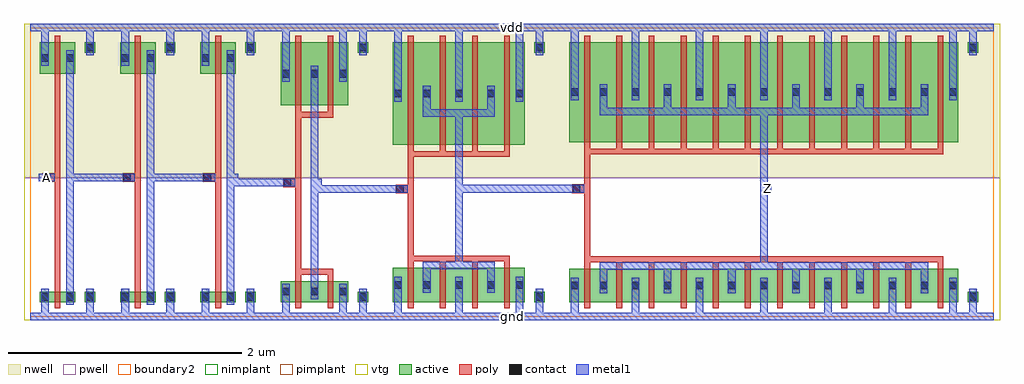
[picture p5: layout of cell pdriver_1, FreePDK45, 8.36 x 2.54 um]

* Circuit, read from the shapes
.subckt pdriver_1 A Z gnd vdd
M1 pinv_1_1/A A gnd gnd nfet w=0.09u l=0.05u
M2 pinv_1_2/A pinv_1_1/A gnd gnd nfet w=0.09u l=0.05u
M3 pinv_8_3/A pinv_1_2/A gnd gnd nfet w=0.09u l=0.05u
M4 pinv_9_4/A pinv_8_3/A gnd gnd nfet w=0.18u l=0.05u m=2
M5 pinv_10_5/A pinv_9_4/A gnd gnd nfet w=0.2925u l=0.05u m=4
M6 Z pinv_10_5/A gnd gnd nfet w=0.285u l=0.05u m=12
M7 pinv_1_1/A A vdd vdd pfet w=0.27u l=0.05u
M8 pinv_1_2/A pinv_1_1/A vdd vdd pfet w=0.27u l=0.05u
M9 pinv_8_3/A pinv_1_2/A vdd vdd pfet w=0.27u l=0.05u
M10 pinv_9_4/A pinv_8_3/A vdd vdd pfet w=0.54u l=0.05u m=2
M11 pinv_10_5/A pinv_9_4/A vdd vdd pfet w=0.8775u l=0.05u m=4
M12 Z pinv_10_5/A vdd vdd pfet w=0.855u l=0.05u m=12
.ends

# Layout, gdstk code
import gdstk
lib = gdstk.Library(unit=1e-6, precision=5e-10)
def R(c, l, rs):  # rectangles x0, y0, x1, y1
    for r in rs: c.add(gdstk.rectangle(r[:2], r[2:], *l))
def A(c, l, x, y, w, h, nx, ny, dx, dy):  # array of equal rectangles
    R(c, l, [(x+i*dx, y+j*dy, x+i*dx+w, y+j*dy+h) for i in range(nx) for j in range(ny)])
active = (1, 0)
pwell = (2, 0)
nwell = (3, 0)
nimplant = (4, 0)
pimplant = (5, 0)
vtg = (6, 0)
poly = (9, 0)
contact = (10, 0)
metal1 = (11, 0)
boundary2 = (239, 0)

contact_10 = lib.new_cell('contact_10')
R(contact_10, active, [(0,0.0225,0.09,0.1125)])
R(contact_10, nwell, [(-0.055,-0.0325,0.145,0.1675)])
R(contact_10, pimplant, [(0,0.0225,0.09,0.1125)])
R(contact_10, contact, [(0.0125,0.035,0.0775,0.1)])
R(contact_10, metal1, [(0.0125,0,0.0775,0.135)])
R(contact_10, boundary2, [(-0.055,-0.0325,0.145,0.1675)])

pmos_m1_w0_270_sm1_dm1_d = lib.new_cell('pmos_m1_w0_270_sm1_dm1_da_p')
R(pmos_m1_w0_270_sm1_dm1_d, active, [(0,0,0.305,0.27)])
R(pmos_m1_w0_270_sm1_dm1_d, nwell, [(-0.08,-0.08,0.385,0.35)])
R(pmos_m1_w0_270_sm1_dm1_d, pimplant, [(0,0,0.305,0.27)])
R(pmos_m1_w0_270_sm1_dm1_d, vtg, [(-0.08,-0.08,0.385,0.35)])
R(pmos_m1_w0_270_sm1_dm1_d, poly, [(0.1275,-0.055,0.1775,0.325), (0.1275,-0.055,0.1775,0.325)])
R(pmos_m1_w0_270_sm1_dm1_d, metal1, [(0.0125,0.0675,0.0775,0.2025), (0.2275,0.0675,0.2925,0.2025)])
R(pmos_m1_w0_270_sm1_dm1_d, boundary2, [(-0.08,-0.08,0.385,0.35)])
pmos_m1_w0_270_sm1_dm1_d.add(gdstk.Reference(contact_10, (0,0.0675)))
pmos_m1_w0_270_sm1_dm1_d.add(gdstk.Reference(contact_10, (0.215,0.0675)))
pmos_m1_w0_270_sm1_dm1_d.add(gdstk.Label('S', (0.045,0.135), layer=11, texttype=0))
pmos_m1_w0_270_sm1_dm1_d.add(gdstk.Label('D', (0.26,0.135), layer=11, texttype=0))
pmos_m1_w0_270_sm1_dm1_d.add(gdstk.Label('G', (0.1525,0.135), layer=9, texttype=0))

contact_9 = lib.new_cell('contact_9')
R(contact_9, active, [(0,0.0225,0.09,0.1125)])
R(contact_9, pwell, [(-0.055,-0.0325,0.145,0.1675)])
R(contact_9, nimplant, [(0,0.0225,0.09,0.1125)])
R(contact_9, contact, [(0.0125,0.035,0.0775,0.1)])
R(contact_9, metal1, [(0.0125,0,0.0775,0.135)])
R(contact_9, boundary2, [(-0.055,-0.0325,0.145,0.1675)])

nmos_m1_w0_090_sm1_dm1_d = lib.new_cell('nmos_m1_w0_090_sm1_dm1_da_p')
R(nmos_m1_w0_090_sm1_dm1_d, active, [(0,0,0.305,0.09)])
R(nmos_m1_w0_090_sm1_dm1_d, pwell, [(-0.08,-0.08,0.385,0.17)])
R(nmos_m1_w0_090_sm1_dm1_d, nimplant, [(0,0,0.305,0.09)])
R(nmos_m1_w0_090_sm1_dm1_d, vtg, [(-0.08,-0.08,0.385,0.17)])
R(nmos_m1_w0_090_sm1_dm1_d, poly, [(0.1275,-0.055,0.1775,0.145), (0.1275,-0.055,0.1775,0.145)])
R(nmos_m1_w0_090_sm1_dm1_d, metal1, [(0.0125,-0.0225,0.0775,0.1125), (0.2275,-0.0225,0.2925,0.1125)])
R(nmos_m1_w0_090_sm1_dm1_d, boundary2, [(-0.08,-0.08,0.385,0.17)])
nmos_m1_w0_090_sm1_dm1_d.add(gdstk.Reference(contact_9, (0,-0.0225)))
nmos_m1_w0_090_sm1_dm1_d.add(gdstk.Reference(contact_9, (0.215,-0.0225)))
nmos_m1_w0_090_sm1_dm1_d.add(gdstk.Label('S', (0.045,0.045), layer=11, texttype=0))
nmos_m1_w0_090_sm1_dm1_d.add(gdstk.Label('D', (0.26,0.045), layer=11, texttype=0))
nmos_m1_w0_090_sm1_dm1_d.add(gdstk.Label('G', (0.1525,0.045), layer=9, texttype=0))

contact_11 = lib.new_cell('contact_11')
R(contact_11, active, [(0,0.0225,0.09,0.1125)])
R(contact_11, nwell, [(-0.055,-0.0325,0.145,0.1675)])
R(contact_11, nimplant, [(0,0.0225,0.09,0.1125)])
R(contact_11, contact, [(0.0125,0.035,0.0775,0.1)])
R(contact_11, metal1, [(0.0125,0,0.0775,0.135)])
R(contact_11, boundary2, [(-0.055,-0.0325,0.145,0.1675)])

contact_12 = lib.new_cell('contact_12')
R(contact_12, active, [(0,0.0225,0.09,0.1125)])
R(contact_12, pwell, [(-0.055,-0.0325,0.145,0.1675)])
R(contact_12, pimplant, [(0,0.0225,0.09,0.1125)])
R(contact_12, contact, [(0.0125,0.035,0.0775,0.1)])
R(contact_12, metal1, [(0.0125,0,0.0775,0.135)])
R(contact_12, boundary2, [(-0.055,-0.0325,0.145,0.1675)])

contact_13 = lib.new_cell('contact_13')
R(contact_13, poly, [(0.03,0,0.105,0.075)])
R(contact_13, contact, [(0.035,0.005,0.1,0.07)])
R(contact_13, metal1, [(0,0.005,0.135,0.07)])
R(contact_13, boundary2, [(0,0,0.135,0.075)])

pinv_1 = lib.new_cell('pinv_1')
R(pinv_1, pwell, [(-0.055,-0.0325,0.7425,1.1875)])
R(pinv_1, nwell, [(-0.055,1.1875,0.7425,2.51)])
R(pinv_1, vtg, [(-0.055,-0.0325,0.7425,1.1875), (-0.055,1.1875,0.7425,2.51)])
R(pinv_1, poly, [(0.2075,0.27,0.2575,2.025), (0.14,1.155,0.2075,1.23)])
R(pinv_1, metal1, [(0,-0.0325,0.6875,0.0325), (0.0925,-0.0325,0.1575,0.1025), (0.4775,0,0.5425,0.17), (0.3075,0.1025,0.3725,2.2825), (0.0725,1.16,0.2075,1.225), (0.34,1.16,0.405,1.225), (0.0925,2.1475,0.1575,2.5075), (0.4775,2.305,0.5425,2.475), (0,2.4425,0.6875,2.5075)])
R(pinv_1, boundary2, [(0,0,0.6875,2.475), (0,0,0.6875,2.475)])
pinv_1.add(gdstk.Reference(pmos_m1_w0_270_sm1_dm1_d, (0.08,2.08)))
pinv_1.add(gdstk.Reference(nmos_m1_w0_090_sm1_dm1_d, (0.08,0.125)))
pinv_1.add(gdstk.Reference(contact_11, (0.465,2.2375)))
pinv_1.add(gdstk.Reference(contact_12, (0.465,0.1025)))
pinv_1.add(gdstk.Reference(contact_13, (0.0725,1.155)))
pinv_1.add(gdstk.Label('A', (0.14,1.1925), layer=11, texttype=0))
pinv_1.add(gdstk.Label('Z', (0.3725,1.1925), layer=11, texttype=0))
pinv_1.add(gdstk.Label('gnd', (0.344,0), layer=11, texttype=0))
pinv_1.add(gdstk.Label('vdd', (0.344,2.475), layer=11, texttype=0))

pmos_m2_w0_540_sm1_dm1_d = lib.new_cell('pmos_m2_w0_540_sm1_dm1_da_p')
R(pmos_m2_w0_540_sm1_dm1_d, active, [(0,0,0.58,0.54)])
R(pmos_m2_w0_540_sm1_dm1_d, nwell, [(-0.08,-0.08,0.66,0.62)])
R(pmos_m2_w0_540_sm1_dm1_d, pimplant, [(0,0,0.58,0.54)])
R(pmos_m2_w0_540_sm1_dm1_d, vtg, [(-0.08,-0.08,0.66,0.62)])
R(pmos_m2_w0_540_sm1_dm1_d, poly, [(0.1275,-0.105,0.4525,-0.055), (0.1275,-0.055,0.1775,0.595), (0.4025,-0.055,0.4525,0.595)])
A(pmos_m2_w0_540_sm1_dm1_d, metal1, 0.0125, 0.2025, 0.065, 0.135, 3, 1, 0.245, 0)
R(pmos_m2_w0_540_sm1_dm1_d, boundary2, [(-0.08,-0.105,0.66,0.62)])
pmos_m2_w0_540_sm1_dm1_d.add(gdstk.Reference(contact_10, (0,0.2025)))
pmos_m2_w0_540_sm1_dm1_d.add(gdstk.Reference(contact_10, (0.245,0.2025)))
pmos_m2_w0_540_sm1_dm1_d.add(gdstk.Reference(contact_10, (0.49,0.2025)))
pmos_m2_w0_540_sm1_dm1_d.add(gdstk.Label('S', (0.535,0.27), layer=11, texttype=0))
pmos_m2_w0_540_sm1_dm1_d.add(gdstk.Label('S', (0.045,0.27), layer=11, texttype=0))
pmos_m2_w0_540_sm1_dm1_d.add(gdstk.Label('D', (0.29,0.27), layer=11, texttype=0))
pmos_m2_w0_540_sm1_dm1_d.add(gdstk.Label('G', (0.29,-0.08), layer=9, texttype=0))

nmos_m2_w0_180_sm1_dm1_d = lib.new_cell('nmos_m2_w0_180_sm1_dm1_da_p')
R(nmos_m2_w0_180_sm1_dm1_d, active, [(0,0,0.58,0.18)])
R(nmos_m2_w0_180_sm1_dm1_d, pwell, [(-0.08,-0.08,0.66,0.26)])
R(nmos_m2_w0_180_sm1_dm1_d, nimplant, [(0,0,0.58,0.18)])
R(nmos_m2_w0_180_sm1_dm1_d, vtg, [(-0.08,-0.08,0.66,0.26)])
R(nmos_m2_w0_180_sm1_dm1_d, poly, [(0.1275,-0.055,0.1775,0.235), (0.4025,-0.055,0.4525,0.235), (0.1275,0.235,0.4525,0.285)])
A(nmos_m2_w0_180_sm1_dm1_d, metal1, 0.0125, 0.0225, 0.065, 0.135, 3, 1, 0.245, 0)
R(nmos_m2_w0_180_sm1_dm1_d, boundary2, [(-0.08,-0.08,0.66,0.285)])
nmos_m2_w0_180_sm1_dm1_d.add(gdstk.Reference(contact_9, (0,0.0225)))
nmos_m2_w0_180_sm1_dm1_d.add(gdstk.Reference(contact_9, (0.245,0.0225)))
nmos_m2_w0_180_sm1_dm1_d.add(gdstk.Reference(contact_9, (0.49,0.0225)))
nmos_m2_w0_180_sm1_dm1_d.add(gdstk.Label('S', (0.535,0.09), layer=11, texttype=0))
nmos_m2_w0_180_sm1_dm1_d.add(gdstk.Label('S', (0.045,0.09), layer=11, texttype=0))
nmos_m2_w0_180_sm1_dm1_d.add(gdstk.Label('D', (0.29,0.09), layer=11, texttype=0))
nmos_m2_w0_180_sm1_dm1_d.add(gdstk.Label('G', (0.29,0.26), layer=9, texttype=0))

pinv_8 = lib.new_cell('pinv_8')
R(pinv_8, pwell, [(-0.055,-0.0325,1.0175,1.1875)])
R(pinv_8, nwell, [(-0.055,1.1875,1.0175,2.51)])
R(pinv_8, vtg, [(-0.055,-0.0325,1.0175,1.1875), (-0.055,1.1875,1.0175,2.51)])
R(pinv_8, poly, [(0.2075,0.41,0.2575,1.705), (0.14,1.11,0.2075,1.185)])
R(pinv_8, metal1, [(0,-0.0325,0.9625,0.0325), (0.0925,-0.0325,0.1575,0.1475), (0.5825,-0.0325,0.6475,0.1475), (0.7525,0,0.8175,0.17), (0.3375,0.1475,0.4025,2.1475), (0.0725,1.115,0.2075,1.18), (0.37,1.115,0.435,1.18), (0.0925,2.0125,0.1575,2.5075), (0.5825,2.0125,0.6475,2.5075), (0.7525,2.305,0.8175,2.475), (0,2.4425,0.9625,2.5075)])
R(pinv_8, boundary2, [(0,0,0.9625,2.475), (0,0,0.9625,2.475)])
pinv_8.add(gdstk.Reference(pmos_m2_w0_540_sm1_dm1_d, (0.08,1.81)))
pinv_8.add(gdstk.Reference(nmos_m2_w0_180_sm1_dm1_d, (0.08,0.125)))
pinv_8.add(gdstk.Reference(contact_11, (0.74,2.2375)))
pinv_8.add(gdstk.Reference(contact_12, (0.74,0.1025)))
pinv_8.add(gdstk.Reference(contact_13, (0.0725,1.11)))
pinv_8.add(gdstk.Label('A', (0.14,1.1475), layer=11, texttype=0))
pinv_8.add(gdstk.Label('Z', (0.4025,1.1475), layer=11, texttype=0))
pinv_8.add(gdstk.Label('gnd', (0.481,0), layer=11, texttype=0))
pinv_8.add(gdstk.Label('vdd', (0.481,2.475), layer=11, texttype=0))

pmos_m4_w0_878_sm1_dm1_d = lib.new_cell('pmos_m4_w0_878_sm1_dm1_da_p')
R(pmos_m4_w0_878_sm1_dm1_d, active, [(0,0,1.13,0.8775)])
R(pmos_m4_w0_878_sm1_dm1_d, nwell, [(-0.08,-0.08,1.21,0.9575)])
R(pmos_m4_w0_878_sm1_dm1_d, pimplant, [(0,0,1.13,0.8775)])
R(pmos_m4_w0_878_sm1_dm1_d, vtg, [(-0.08,-0.08,1.21,0.9575)])
A(pmos_m4_w0_878_sm1_dm1_d, poly, 0.1275, -0.055, 0.05, 0.9875, 4, 1, 0.275, 0)
R(pmos_m4_w0_878_sm1_dm1_d, poly, [(0.1275,-0.105,1.0025,-0.055)])
A(pmos_m4_w0_878_sm1_dm1_d, metal1, 0.0125, 0.37, 0.065, 0.135, 3, 1, 0.52, 0)
R(pmos_m4_w0_878_sm1_dm1_d, metal1, [(0.2575,0.24,0.8725,0.305), (0.2575,0.275,0.3225,0.44), (0.8075,0.275,0.8725,0.44)])
R(pmos_m4_w0_878_sm1_dm1_d, boundary2, [(-0.08,-0.105,1.21,0.9575)])
pmos_m4_w0_878_sm1_dm1_d.add(gdstk.Reference(contact_10, (0,0.37)))
pmos_m4_w0_878_sm1_dm1_d.add(gdstk.Reference(contact_10, (0.245,0.37)))
pmos_m4_w0_878_sm1_dm1_d.add(gdstk.Reference(contact_10, (0.52,0.37)))
pmos_m4_w0_878_sm1_dm1_d.add(gdstk.Reference(contact_10, (0.795,0.37)))
pmos_m4_w0_878_sm1_dm1_d.add(gdstk.Reference(contact_10, (1.04,0.37)))
pmos_m4_w0_878_sm1_dm1_d.add(gdstk.Label('S', (1.085,0.4375), layer=11, texttype=0))
pmos_m4_w0_878_sm1_dm1_d.add(gdstk.Label('S', (0.045,0.4375), layer=11, texttype=0))
pmos_m4_w0_878_sm1_dm1_d.add(gdstk.Label('S', (0.565,0.4375), layer=11, texttype=0))
pmos_m4_w0_878_sm1_dm1_d.add(gdstk.Label('D', (0.565,0.2725), layer=11, texttype=0))
pmos_m4_w0_878_sm1_dm1_d.add(gdstk.Label('G', (0.565,-0.08), layer=9, texttype=0))

nmos_m4_w0_292_sm1_dm1_d = lib.new_cell('nmos_m4_w0_292_sm1_dm1_da_p')
R(nmos_m4_w0_292_sm1_dm1_d, active, [(0,0,1.13,0.2925)])
R(nmos_m4_w0_292_sm1_dm1_d, pwell, [(-0.08,-0.08,1.21,0.3725)])
R(nmos_m4_w0_292_sm1_dm1_d, nimplant, [(0,0,1.13,0.2925)])
R(nmos_m4_w0_292_sm1_dm1_d, vtg, [(-0.08,-0.08,1.21,0.3725)])
A(nmos_m4_w0_292_sm1_dm1_d, poly, 0.1275, -0.055, 0.05, 0.4025, 4, 1, 0.275, 0)
R(nmos_m4_w0_292_sm1_dm1_d, poly, [(0.1275,0.3475,1.0025,0.3975)])
A(nmos_m4_w0_292_sm1_dm1_d, metal1, 0.0125, 0.08, 0.065, 0.135, 3, 1, 0.52, 0)
R(nmos_m4_w0_292_sm1_dm1_d, metal1, [(0.2575,0.145,0.3225,0.31), (0.8075,0.145,0.8725,0.31), (0.2575,0.28,0.8725,0.345)])
R(nmos_m4_w0_292_sm1_dm1_d, boundary2, [(-0.08,-0.08,1.21,0.3975)])
nmos_m4_w0_292_sm1_dm1_d.add(gdstk.Reference(contact_9, (0,0.08)))
nmos_m4_w0_292_sm1_dm1_d.add(gdstk.Reference(contact_9, (0.245,0.08)))
nmos_m4_w0_292_sm1_dm1_d.add(gdstk.Reference(contact_9, (0.52,0.08)))
nmos_m4_w0_292_sm1_dm1_d.add(gdstk.Reference(contact_9, (0.795,0.08)))
nmos_m4_w0_292_sm1_dm1_d.add(gdstk.Reference(contact_9, (1.04,0.08)))
nmos_m4_w0_292_sm1_dm1_d.add(gdstk.Label('S', (0.045,0.1475), layer=11, texttype=0))
nmos_m4_w0_292_sm1_dm1_d.add(gdstk.Label('S', (1.085,0.1475), layer=11, texttype=0))
nmos_m4_w0_292_sm1_dm1_d.add(gdstk.Label('S', (0.565,0.1475), layer=11, texttype=0))
nmos_m4_w0_292_sm1_dm1_d.add(gdstk.Label('D', (0.565,0.3125), layer=11, texttype=0))
nmos_m4_w0_292_sm1_dm1_d.add(gdstk.Label('G', (0.565,0.3725), layer=9, texttype=0))

pinv_9 = lib.new_cell('pinv_9')
R(pinv_9, pwell, [(-0.055,-0.0325,1.5675,1.1875)])
R(pinv_9, nwell, [(-0.055,1.1875,1.5675,2.51)])
R(pinv_9, vtg, [(-0.055,-0.0325,1.5675,1.1875), (-0.055,1.1875,1.5675,2.51)])
R(pinv_9, poly, [(0.2075,0.5225,0.2575,1.3675), (0.14,1.055,0.2075,1.13)])
A(pinv_9, metal1, 0.0925, -0.0325, 0.065, 0.2375, 3, 1, 0.52, 0)
A(pinv_9, metal1, 0.0925, 1.8425, 0.065, 0.665, 3, 1, 0.52, 0)
R(pinv_9, metal1, [(0,-0.0325,1.5125,0.0325), (1.3025,0,1.3675,0.17), (0.6125,0.405,0.6775,1.7775), (0.0725,1.06,0.2075,1.125), (0.645,1.06,0.71,1.125), (1.3025,2.305,1.3675,2.475), (0,2.4425,1.5125,2.5075)])
R(pinv_9, boundary2, [(0,0,1.5125,2.475), (0,0,1.5125,2.475)])
pinv_9.add(gdstk.Reference(pmos_m4_w0_878_sm1_dm1_d, (0.08,1.4725)))
pinv_9.add(gdstk.Reference(nmos_m4_w0_292_sm1_dm1_d, (0.08,0.125)))
pinv_9.add(gdstk.Reference(contact_11, (1.29,2.2375)))
pinv_9.add(gdstk.Reference(contact_12, (1.29,0.1025)))
pinv_9.add(gdstk.Reference(contact_13, (0.0725,1.055)))
pinv_9.add(gdstk.Label('A', (0.14,1.0925), layer=11, texttype=0))
pinv_9.add(gdstk.Label('Z', (0.6775,1.0925), layer=11, texttype=0))
pinv_9.add(gdstk.Label('gnd', (0.756,0), layer=11, texttype=0))
pinv_9.add(gdstk.Label('vdd', (0.756,2.475), layer=11, texttype=0))

pmos_m12_w0_855_sm1_dm1_ = lib.new_cell('pmos_m12_w0_855_sm1_dm1_da_p')
R(pmos_m12_w0_855_sm1_dm1_, active, [(0,0,3.33,0.855)])
R(pmos_m12_w0_855_sm1_dm1_, nwell, [(-0.08,-0.08,3.41,0.935)])
R(pmos_m12_w0_855_sm1_dm1_, pimplant, [(0,0,3.33,0.855)])
R(pmos_m12_w0_855_sm1_dm1_, vtg, [(-0.08,-0.08,3.41,0.935)])
A(pmos_m12_w0_855_sm1_dm1_, poly, 0.1275, -0.055, 0.05, 0.965, 12, 1, 0.275, 0)
R(pmos_m12_w0_855_sm1_dm1_, poly, [(0.1275,-0.105,3.2025,-0.055)])
A(pmos_m12_w0_855_sm1_dm1_, metal1, 0.2575, 0.2625, 0.065, 0.165, 6, 1, 0.55, 0)
A(pmos_m12_w0_855_sm1_dm1_, metal1, 0.5325, 0.36, 0.065, 0.135, 5, 1, 0.55, 0)
R(pmos_m12_w0_855_sm1_dm1_, metal1, [(0.2575,0.23,3.0725,0.295), (0.0125,0.36,0.0775,0.495), (3.2525,0.36,3.3175,0.495)])
R(pmos_m12_w0_855_sm1_dm1_, boundary2, [(-0.08,-0.105,3.41,0.935)])
pmos_m12_w0_855_sm1_dm1_.add(gdstk.Reference(contact_10, (0,0.36)))
pmos_m12_w0_855_sm1_dm1_.add(gdstk.Reference(contact_10, (0.245,0.36)))
pmos_m12_w0_855_sm1_dm1_.add(gdstk.Reference(contact_10, (0.52,0.36)))
pmos_m12_w0_855_sm1_dm1_.add(gdstk.Reference(contact_10, (0.795,0.36)))
pmos_m12_w0_855_sm1_dm1_.add(gdstk.Reference(contact_10, (1.07,0.36)))
pmos_m12_w0_855_sm1_dm1_.add(gdstk.Reference(contact_10, (1.345,0.36)))
pmos_m12_w0_855_sm1_dm1_.add(gdstk.Reference(contact_10, (1.62,0.36)))
pmos_m12_w0_855_sm1_dm1_.add(gdstk.Reference(contact_10, (1.895,0.36)))
pmos_m12_w0_855_sm1_dm1_.add(gdstk.Reference(contact_10, (2.17,0.36)))
pmos_m12_w0_855_sm1_dm1_.add(gdstk.Reference(contact_10, (2.445,0.36)))
pmos_m12_w0_855_sm1_dm1_.add(gdstk.Reference(contact_10, (2.72,0.36)))
pmos_m12_w0_855_sm1_dm1_.add(gdstk.Reference(contact_10, (2.995,0.36)))
pmos_m12_w0_855_sm1_dm1_.add(gdstk.Reference(contact_10, (3.24,0.36)))
pmos_m12_w0_855_sm1_dm1_.add(gdstk.Label('S', (3.285,0.4275), layer=11, texttype=0))
pmos_m12_w0_855_sm1_dm1_.add(gdstk.Label('S', (1.665,0.4275), layer=11, texttype=0))
pmos_m12_w0_855_sm1_dm1_.add(gdstk.Label('S', (0.045,0.4275), layer=11, texttype=0))
pmos_m12_w0_855_sm1_dm1_.add(gdstk.Label('S', (2.215,0.4275), layer=11, texttype=0))
pmos_m12_w0_855_sm1_dm1_.add(gdstk.Label('S', (0.565,0.4275), layer=11, texttype=0))
pmos_m12_w0_855_sm1_dm1_.add(gdstk.Label('S', (2.765,0.4275), layer=11, texttype=0))
pmos_m12_w0_855_sm1_dm1_.add(gdstk.Label('S', (1.115,0.4275), layer=11, texttype=0))
pmos_m12_w0_855_sm1_dm1_.add(gdstk.Label('D', (1.665,0.2625), layer=11, texttype=0))
pmos_m12_w0_855_sm1_dm1_.add(gdstk.Label('G', (1.665,-0.08), layer=9, texttype=0))

nmos_m12_w0_285_sm1_dm1_ = lib.new_cell('nmos_m12_w0_285_sm1_dm1_da_p')
R(nmos_m12_w0_285_sm1_dm1_, active, [(0,0,3.33,0.285)])
R(nmos_m12_w0_285_sm1_dm1_, pwell, [(-0.08,-0.08,3.41,0.365)])
R(nmos_m12_w0_285_sm1_dm1_, nimplant, [(0,0,3.33,0.285)])
R(nmos_m12_w0_285_sm1_dm1_, vtg, [(-0.08,-0.08,3.41,0.365)])
A(nmos_m12_w0_285_sm1_dm1_, poly, 0.1275, -0.055, 0.05, 0.395, 12, 1, 0.275, 0)
R(nmos_m12_w0_285_sm1_dm1_, poly, [(0.1275,0.34,3.2025,0.39)])
A(nmos_m12_w0_285_sm1_dm1_, metal1, 0.5325, 0.075, 0.065, 0.135, 5, 1, 0.55, 0)
A(nmos_m12_w0_285_sm1_dm1_, metal1, 0.2575, 0.1425, 0.065, 0.165, 6, 1, 0.55, 0)
R(nmos_m12_w0_285_sm1_dm1_, metal1, [(0.0125,0.075,0.0775,0.21), (3.2525,0.075,3.3175,0.21), (0.2575,0.275,3.0725,0.34)])
R(nmos_m12_w0_285_sm1_dm1_, boundary2, [(-0.08,-0.08,3.41,0.39)])
nmos_m12_w0_285_sm1_dm1_.add(gdstk.Reference(contact_9, (0,0.075)))
nmos_m12_w0_285_sm1_dm1_.add(gdstk.Reference(contact_9, (0.245,0.075)))
nmos_m12_w0_285_sm1_dm1_.add(gdstk.Reference(contact_9, (0.52,0.075)))
nmos_m12_w0_285_sm1_dm1_.add(gdstk.Reference(contact_9, (0.795,0.075)))
nmos_m12_w0_285_sm1_dm1_.add(gdstk.Reference(contact_9, (1.07,0.075)))
nmos_m12_w0_285_sm1_dm1_.add(gdstk.Reference(contact_9, (1.345,0.075)))
nmos_m12_w0_285_sm1_dm1_.add(gdstk.Reference(contact_9, (1.62,0.075)))
nmos_m12_w0_285_sm1_dm1_.add(gdstk.Reference(contact_9, (1.895,0.075)))
nmos_m12_w0_285_sm1_dm1_.add(gdstk.Reference(contact_9, (2.17,0.075)))
nmos_m12_w0_285_sm1_dm1_.add(gdstk.Reference(contact_9, (2.445,0.075)))
nmos_m12_w0_285_sm1_dm1_.add(gdstk.Reference(contact_9, (2.72,0.075)))
nmos_m12_w0_285_sm1_dm1_.add(gdstk.Reference(contact_9, (2.995,0.075)))
nmos_m12_w0_285_sm1_dm1_.add(gdstk.Reference(contact_9, (3.24,0.075)))
nmos_m12_w0_285_sm1_dm1_.add(gdstk.Label('S', (3.285,0.1425), layer=11, texttype=0))
nmos_m12_w0_285_sm1_dm1_.add(gdstk.Label('S', (0.045,0.1425), layer=11, texttype=0))
nmos_m12_w0_285_sm1_dm1_.add(gdstk.Label('S', (1.665,0.1425), layer=11, texttype=0))
nmos_m12_w0_285_sm1_dm1_.add(gdstk.Label('S', (2.215,0.1425), layer=11, texttype=0))
nmos_m12_w0_285_sm1_dm1_.add(gdstk.Label('S', (0.565,0.1425), layer=11, texttype=0))
nmos_m12_w0_285_sm1_dm1_.add(gdstk.Label('S', (1.115,0.1425), layer=11, texttype=0))
nmos_m12_w0_285_sm1_dm1_.add(gdstk.Label('S', (2.765,0.1425), layer=11, texttype=0))
nmos_m12_w0_285_sm1_dm1_.add(gdstk.Label('D', (1.665,0.3075), layer=11, texttype=0))
nmos_m12_w0_285_sm1_dm1_.add(gdstk.Label('G', (1.665,0.365), layer=9, texttype=0))

pinv_10 = lib.new_cell('pinv_10')
R(pinv_10, pwell, [(-0.055,-0.0325,3.7675,1.1875)])
R(pinv_10, nwell, [(-0.055,1.1875,3.7675,2.51)])
R(pinv_10, vtg, [(-0.055,-0.0325,3.7675,1.1875), (-0.055,1.1875,3.7675,2.51)])
R(pinv_10, poly, [(0.2075,0.515,0.2575,1.39), (0.14,1.0575,0.2075,1.1325)])
A(pinv_10, metal1, 0.6125, -0.0325, 0.065, 0.2325, 5, 1, 0.55, 0)
A(pinv_10, metal1, 0.6125, 1.855, 0.065, 0.6525, 5, 1, 0.55, 0)
R(pinv_10, metal1, [(0,-0.0325,3.7125,0.0325), (0.0925,-0.0325,0.1575,0.2), (3.3325,-0.0325,3.3975,0.2), (3.5025,0,3.5675,0.17), (1.7125,0.4,1.7775,1.79), (0.0725,1.0625,0.2075,1.1275), (1.745,1.0625,1.81,1.1275), (0.0925,1.855,0.1575,2.5075), (3.3325,1.855,3.3975,2.5075), (3.5025,2.305,3.5675,2.475), (0,2.4425,3.7125,2.5075)])
R(pinv_10, boundary2, [(0,0,3.7125,2.475), (0,0,3.7125,2.475)])
pinv_10.add(gdstk.Reference(pmos_m12_w0_855_sm1_dm1_, (0.08,1.495)))
pinv_10.add(gdstk.Reference(nmos_m12_w0_285_sm1_dm1_, (0.08,0.125)))
pinv_10.add(gdstk.Reference(contact_11, (3.49,2.2375)))
pinv_10.add(gdstk.Reference(contact_12, (3.49,0.1025)))
pinv_10.add(gdstk.Reference(contact_13, (0.0725,1.0575)))
pinv_10.add(gdstk.Label('A', (0.14,1.095), layer=11, texttype=0))
pinv_10.add(gdstk.Label('Z', (1.7775,1.095), layer=11, texttype=0))
pinv_10.add(gdstk.Label('gnd', (1.856,0), layer=11, texttype=0))
pinv_10.add(gdstk.Label('vdd', (1.856,2.475), layer=11, texttype=0))

pdriver_1 = lib.new_cell('pdriver_1')
R(pdriver_1, pwell, [(-0.055,-0.0325,8.305,1.1875)])
R(pdriver_1, nwell, [(-0.055,1.1875,8.305,2.51)])
R(pdriver_1, vtg, [(-0.055,-0.0325,8.305,1.1875), (-0.055,1.1875,8.305,2.51)])
R(pdriver_1, metal1, [(0,-0.0325,8.25,0.0325), (2.4325,1.06,2.4975,1.125), (2.465,1.06,3.165,1.125), (3.67,1.0625,3.735,1.1275), (3.7025,1.0625,4.6775,1.1275), (6.2825,1.0625,6.3475,1.1275), (2.4325,1.0925,2.4975,1.1475), (3.67,1.0925,3.735,1.095), (1.715,1.115,1.78,1.18), (1.7475,1.115,2.2025,1.18), (1.715,1.1475,1.78,1.1925), (0.0725,1.16,0.2075,1.225), (0.3725,1.16,0.8275,1.225), (1.06,1.16,1.515,1.225), (0,2.4425,8.25,2.5075)])
R(pdriver_1, boundary2, [(0,0,8.25,2.475), (0,0,8.25,2.475)])
pdriver_1.add(gdstk.Reference(pinv_1, (0,0)))
pdriver_1.add(gdstk.Reference(pinv_1, (0.6875,0)))
pdriver_1.add(gdstk.Reference(pinv_1, (1.375,0)))
pdriver_1.add(gdstk.Reference(pinv_8, (2.0625,0)))
pdriver_1.add(gdstk.Reference(pinv_9, (3.025,0)))
pdriver_1.add(gdstk.Reference(pinv_10, (4.5375,0)))
pdriver_1.add(gdstk.Label('Z', (6.315,1.095), layer=11, texttype=0))
pdriver_1.add(gdstk.Label('A', (0.14,1.1925), layer=11, texttype=0))
pdriver_1.add(gdstk.Label('gnd', (4.125,0), layer=11, texttype=0))
pdriver_1.add(gdstk.Label('vdd', (4.125,2.475), layer=11, texttype=0))

lib.write_gds('pdriver_1.gds')
